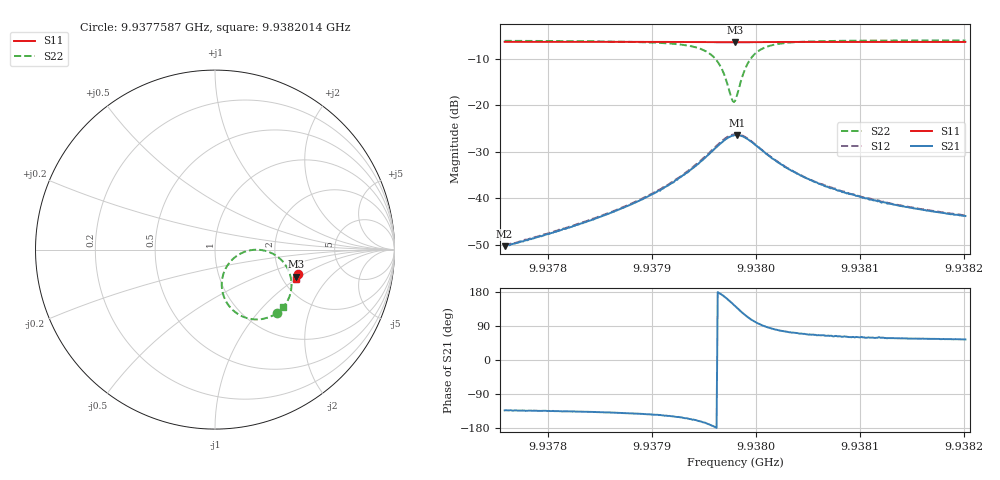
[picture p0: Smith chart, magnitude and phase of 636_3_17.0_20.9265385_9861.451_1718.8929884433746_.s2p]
#  HZ  S  RI  R  50.00
! Rohde & Schwarz Vector Network Analyzer
! Rohde-Schwarz,ZNB20-2Port,1311601062101988,3.16
! Created: UTC 3/20/2024, 11:20:39 PM
! freq[Hz]  re:S11  im:S11  re:S21  im:S21  re:S12  im:S12  re:S22  im:S22
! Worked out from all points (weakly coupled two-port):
!   401 points, 9.9377587 GHz to 9.9382014 GHz, reference 50 ohm
!   highest |S21| = -26.40 dB at 9.9379823 GHz (marker M1); lowest = -50.3 dB at 9.9377587 GHz (marker M2)
!   lowest |S11| = -6.5 dB at 9.9379801 GHz (marker M3), VSWR 2.81, Z = 119 - j46.3 ohm
!   |S11| at or under -10 dB: nowhere
!   |S22| runs from -19.3 to -6.1 dB; largest |S21 - S12| = 0.0024
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9.93775871e9  0.4613 -0.1385  -0.00208 -0.00223  -0.00212 -0.00224  0.3453 -0.3526
9.93783287e9  0.4593 -0.1436  -0.0039 -0.00372  -0.00401 -0.00369  0.3249 -0.3654
9.93787493e9  0.458 -0.1465  -0.00621 -0.0052  -0.00638 -0.00518  0.302 -0.376
9.93790703e9  0.4569 -0.1488  -0.00994 -0.00687  -0.0102 -0.00686  0.268 -0.3858
9.93793802e9  0.455 -0.1513  -0.0188 -0.00821  -0.0194 -0.00802  0.1939 -0.3856
9.93795573e9  0.453 -0.1524  -0.0298 -0.00496  -0.0307 -0.00448  0.1062 -0.3431
9.93796126e9  0.4523 -0.1523  -0.0346 -0.00144  -0.0357 -0.000546  0.0728 -0.3067
9.93796569e9  0.4518 -0.1522  -0.0384 0.00333  -0.0393 0.00429  0.0498 -0.2629
9.93797012e9  0.4511 -0.1517  -0.0411 0.00969  -0.042 0.0114  0.0377 -0.2047
9.93797676e9  0.4506 -0.1507  -0.0409 0.0227  -0.0412 0.0246  0.0613 -0.1017
9.93797897e9  0.4506 -0.1504  -0.039 0.0271  -0.0391 0.0289  0.0831 -0.0697
9.93798008e9  0.4507 -0.1501  -0.0379 0.0289  -0.0377 0.0313  0.0965 -0.0552
9.93798229e9  0.4509 -0.1496  -0.0349 0.0328  -0.0344 0.0349  0.1278 -0.0308
9.93798672e9  0.4517 -0.1492  -0.0274 0.0377  -0.0262 0.0395  0.1976 -0.00363
9.93799115e9  0.4523 -0.1491  -0.019 0.0396  -0.0179 0.0411  0.2654 -0.00349
9.93799557e9  0.4533 -0.1492  -0.0118 0.0391  -0.0105 0.0399  0.3209 -0.0221
9.93800222e9  0.454 -0.15  -0.00404 0.0353  -0.00298 0.0358  0.3758 -0.0641
9.93801992e9  0.4548 -0.1521  0.00438 0.0246  0.00509 0.0248  0.4235 -0.1621
9.93805424e9  0.4543 -0.1556  0.00604 0.0142  0.0066 0.0141  0.4189 -0.2482
9.93808523e9  0.4537 -0.1579  0.00535 0.0102  0.00589 0.0102  0.4069 -0.2802
9.9381284e9  0.4524 -0.1611  0.00465 0.00738  0.00487 0.00742  0.394 -0.3026
9.93820145e9  0.4503 -0.1659  0.00377 0.00522  0.00386 0.00523  0.3799 -0.3218
